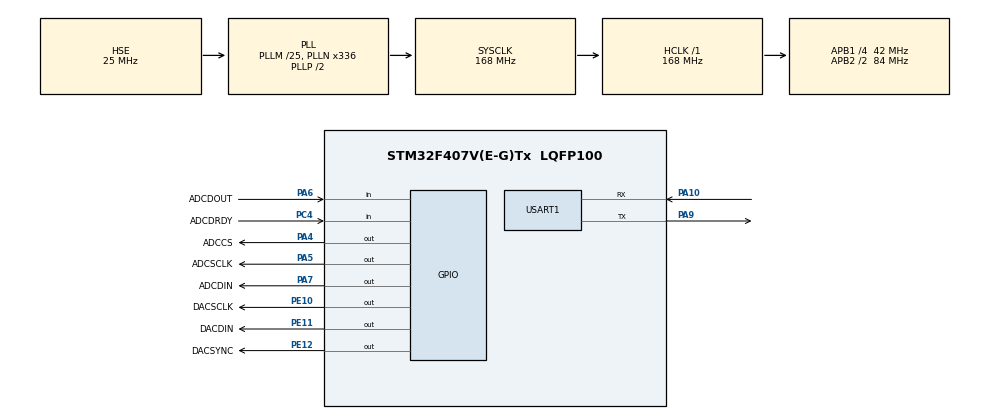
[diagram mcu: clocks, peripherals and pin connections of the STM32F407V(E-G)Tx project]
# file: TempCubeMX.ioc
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Dma.Request0=USART1_RX
Dma.Request1=USART1_TX
Dma.USART1_RX.0.Direction=DMA_PERIPH_TO_MEMORY
Dma.USART1_RX.0.FIFOMode=DMA_FIFOMODE_DISABLE
Dma.USART1_RX.0.Instance=DMA2_Stream2
Dma.USART1_RX.0.MemDataAlignment=DMA_MDATAALIGN_BYTE
Dma.USART1_RX.0.MemInc=DMA_MINC_ENABLE
Dma.USART1_RX.0.Mode=DMA_CIRCULAR
Dma.USART1_RX.0.PeriphDataAlignment=DMA_PDATAALIGN_BYTE
Dma.USART1_RX.0.PeriphInc=DMA_PINC_DISABLE
Dma.USART1_RX.0.Priority=DMA_PRIORITY_HIGH
Dma.USART1_TX.1.Direction=DMA_MEMORY_TO_PERIPH
Dma.USART1_TX.1.FIFOMode=DMA_FIFOMODE_DISABLE
Dma.USART1_TX.1.Instance=DMA2_Stream7
Dma.USART1_TX.1.MemDataAlignment=DMA_MDATAALIGN_BYTE
Dma.USART1_TX.1.MemInc=DMA_MINC_ENABLE
Dma.USART1_TX.1.Mode=DMA_NORMAL
Dma.USART1_TX.1.PeriphDataAlignment=DMA_PDATAALIGN_BYTE
Dma.USART1_TX.1.PeriphInc=DMA_PINC_DISABLE
Dma.USART1_TX.1.Priority=DMA_PRIORITY_MEDIUM
Mcu.Family=STM32F4
Mcu.Name=STM32F407V(E-G)Tx
Mcu.Package=LQFP100
NVIC.DMA2_Stream2_IRQn=true\:0\:0\:false\:false\:true\:false\:true\:true
NVIC.DMA2_Stream7_IRQn=true\:0\:0\:false\:false\:true\:false\:true\:true
NVIC.PriorityGroup=NVIC_PRIORITYGROUP_4
NVIC.USART1_IRQn=true\:0\:0\:false\:false\:true\:true\:true\:true
PA10.Mode=Asynchronous
PA10.Signal=USART1_RX
PA13.Mode=Serial_Wire
PA13.Signal=SYS_JTMS-SWDIO
PA14.Mode=Serial_Wire
PA14.Signal=SYS_JTCK-SWCLK
PA4.GPIO_Label=ADCCS
PA4.PinState=GPIO_PIN_SET
PA4.Signal=GPIO_Output
PA5.GPIO_Label=ADCSCLK
PA5.Signal=GPIO_Output
PA6.GPIO_Label=ADCDOUT
PA6.Signal=GPIO_Input
PA7.GPIO_Label=ADCDIN
PA7.Signal=GPIO_Output
PA9.Mode=Asynchronous
PA9.Signal=USART1_TX
PC4.GPIO_Label=ADCDRDY
PC4.Signal=GPIO_Input
PE10.GPIO_Label=DACSCLK
PE10.GPIO_Speed=GPIO_SPEED_FREQ_VERY_HIGH
PE10.PinState=GPIO_PIN_RESET
PE10.Signal=GPIO_Output
PE11.GPIO_Label=DACDIN
PE11.GPIO_Speed=GPIO_SPEED_FREQ_VERY_HIGH
PE11.PinState=GPIO_PIN_RESET
PE11.Signal=GPIO_Output
PE12.GPIO_Label=DACSYNC
PE12.GPIO_Speed=GPIO_SPEED_FREQ_VERY_HIGH
PE12.PinState=GPIO_PIN_SET
PE12.Signal=GPIO_Output
PH0-OSC_IN.Mode=HSE-External-Oscillator
PH0-OSC_IN.Signal=RCC_OSC_IN
PH1-OSC_OUT.Mode=HSE-External-Oscillator
PH1-OSC_OUT.Signal=RCC_OSC_OUT
ProjectManager.HeapSize=0x200
ProjectManager.StackSize=0x400
ProjectManager.TargetToolchain=MDK-ARM V5.32
RCC.48MHZClocksFreq_Value=84000000
RCC.AHBFreq_Value=168000000
RCC.APB1CLKDivider=RCC_HCLK_DIV4
RCC.APB1Freq_Value=42000000
RCC.APB1TimFreq_Value=84000000
RCC.APB2CLKDivider=RCC_HCLK_DIV2
RCC.APB2Freq_Value=84000000
RCC.APB2TimFreq_Value=168000000
RCC.CortexFreq_Value=168000000
RCC.HCLKFreq_Value=168000000
RCC.HSE_VALUE=25000000
RCC.HSI_VALUE=16000000
RCC.LSE_VALUE=32768
RCC.PLLM=25
RCC.PLLN=336
RCC.PLLSourceVirtual=RCC_PLLSOURCE_HSE
RCC.SYSCLKFreq_VALUE=168000000
RCC.SYSCLKSource=RCC_SYSCLKSOURCE_PLLCLK
RCC.VCOOutputFreq_Value=336000000
USART1.VirtualMode=VM_ASYNC
board=custom

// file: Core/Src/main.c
/* USER CODE BEGIN Header */
/**
  ******************************************************************************
  * @file           : main.c
  * @brief          : Main program body
  ******************************************************************************
  * @attention
  *
  * Copyright (c) 2026 STMicroelectronics.
  * All rights reserved.
  *
  * This software is licensed under terms that can be found in the LICENSE file
  * in the root directory of this software component.
  * If no LICENSE file comes with this software, it is provided AS-IS.
  *
  ******************************************************************************
  */
/* USER CODE END Header */
#include "main.h"
#include "dma.h"
#include "usart.h"
#include "gpio.h"

/* USER CODE BEGIN Includes */
#include "command_parser.h"
#include "uart1_comm.h"
#include "bsp_DAC8568.h"
#include "thermal.h"
#include "formula.h"
#include "ads1255.h"
#include "pid.h"
#include <stdio.h>
/* USER CODE END Includes */

/* USER CODE BEGIN PD */

#define ADC_FILTER_N          10U
#define ADS1256_INVALID_CODE  ((int32_t)0x7FFFFFFF)

#define TEC1_TARGET_TEMPERATURE      25.0f
#define TEC1_CONTROL_PERIOD_MS       200U

/* USER CODE END PD */

/* USER CODE BEGIN PV */

static int32_t ntc_adc_code = 0;
static double ntc_diff_voltage = 0.0f;
static double adc_ntc_node_voltage = 0.0;
static double ntc_temperature = 0.0f;
static double ntc_resistance = 0.0f;

static double dac_temperature = 0.0f;
static double dac_ntc_resistance = 0.0f;
static uint8_t dac_temp_valid = 0U;

static uint8_t ntc_data_valid = 0U;
static uint32_t ntc_raw24 = 0U;

static PID TEC1_PID;
PID_Control TEC1_Control;
/* USER CODE BEGIN PV */

void SystemClock_Config(void);

/* USER CODE BEGIN 0 */
/**
 * @brief 处理一条来自电脑的完整命指令
 *
 * ??????????,????????????,
 * ????????????
 */
static void App_ProcessPcCommand(void)
{
    char rx_line[UART1_RX_LINE_MAX_LEN];
    char tx_reply[UART1_TX_BUFFER_SIZE];

    CommandPacket_t command;
    CommandParseStatus_t parse_status;
    CommandExecStatus_t exec_status;

    /*
     * ?????? DMA ????????,
     * ?????????,???????????
     */
    if (UART1_Comm_IsTxBusy())
    {
        return;
    }

    if (!UART1_Comm_ReadLine(rx_line, sizeof(rx_line)))
    {
        return;
    }

    /* ???????:????,??????? */
    parse_status = Command_ParseLine(rx_line, &command);

    if (parse_status != CMD_PARSE_OK)
    {
        (void)UART1_SendString_DMA("ERROR FORMAT\r\n");
        return;
    }

    /*
     * ???????:
     * 根据指令名和参数设置目标变量
     * ?????????
     */
    exec_status = Command_Execute(&command,
                                  tx_reply,
                                  sizeof(tx_reply));

    switch (exec_status)
    {
        case CMD_EXEC_OK:
            (void)UART1_SendString_DMA("%s", tx_reply);
            break;

        case CMD_EXEC_UNKNOWN_COMMAND:
            (void)UART1_SendString_DMA("ERROR UNKNOWN COMMAND\r\n");
            break;

        case CMD_EXEC_OUT_OF_RANGE:
            (void)UART1_SendString_DMA("ERROR OUT OF RANGE\r\n");
            break;

        default:
            (void)UART1_SendString_DMA("ERROR INTERNAL\r\n");
            break;
    }
}

/* ?32???????????????? */
static void Uint32_ToBinaryString(uint32_t value, char output[33])
{
    for (uint32_t i = 0U; i < 32U; i++)
    {
        uint32_t bit_pos = 31U - i;

        output[i] = ((value >> bit_pos) & 0x01U) ? '1' : '0';
    }

    output[32] = '\0';
}

/* USER CODE END 0 */

int main(void)
{

  /* MCU Configuration--------------------------------------------------------*/

  /* Reset of all peripherals, Initializes the Flash interface and the Systick. */
  HAL_Init();

  /* Configure the system clock */
  SystemClock_Config();

  /* Initialize all configured peripherals */
  MX_GPIO_Init();
  MX_DMA_Init();
  MX_USART1_UART_Init();
  /* USER CODE BEGIN 2 */

  UART1_Comm_Start();

	DAC8568_Init();

	/* DAC0 -> AIN0 */
	DAC8568_SetVoltage(OutA,1.25);

	/* DAC2 -> AIN1 */
  DAC8568_SetVoltage(OutC, 1.25);

	ADS1256_GPIO_Init();
  ADS1256_CfgADC(PGA_1, DATARATE_50);

	//设置差分通道
	ADS1256_SetDiffChannel(POSITIVE_AIN0, NEGTIVE_AIN1);

	Formula_TecPid_Init(&TEC1_PID,
                        0.8f,     // Kp
                        0.02f,    // Ki
                        0.1f,     // Kd
                        25.0f);   // 初始温度

  if (!PID_Control_Init(&TEC1_Control,
                      &TEC1_PID,
                      TEC1_TARGET_TEMPERATURE,
                      TEC1_CONTROL_PERIOD_MS,
                      TEC_CHANNEL_1))
{
    Error_Handler();
}

/* 上电获得有效温度自动整定一次 */
PID_Control_RequestAutoTune(&TEC1_Control);
  /* USER CODE END 2 */

  /* Infinite loop */
  /* USER CODE BEGIN WHILE */

	uint32_t last_send_tick = 0U;
	uint16_t dac0_code;
	uint16_t dac2_code;

  double dac0_v;
  double dac2_v;
  double dac_diff_v;

  while (1)
  {
    /* USER CODE END WHILE */

		App_ProcessPcCommand();

		 dac0_code = g_dac8568_code[0];
     dac2_code = g_dac8568_code[2];

     dac0_v = ((double)dac0_code * 5.0f) / 65535.0f;
     dac2_v = ((double)dac2_code * 5.0f) / 65535.0f;

     dac_diff_v = dac0_v - dac2_v;

		//读取adc电压差分数据
	  ntc_adc_code =
    ADS1256_GetAdcTrimmedMean1(ADC_FILTER_N);

		ntc_data_valid = 0U;
    ntc_raw24 = 0U;
    ntc_diff_voltage = 0.0;
    adc_ntc_node_voltage = 0.0;

    //判断adc返回值
    if (ntc_adc_code != ADS1256_INVALID_CODE)
{
    ntc_raw24 =
        ((uint32_t)ntc_adc_code) &
        0x00FFFFFFU;

	  //adc测量差分
    ntc_diff_voltage =
            ADS1256_CodeToVoltage(
            ntc_adc_code,
            2.5,
            PGA_1
        );

	  //还原节点N1电压
	  adc_ntc_node_voltage =
            ntc_diff_voltage +
            dac2_v;

				//差分电压转换成温度和电阻（真实采集到的，可用于计算真实温度）
				ntc_data_valid =
    NTC_NodeVoltageToTemperature(
        adc_ntc_node_voltage,
        &ntc_temperature,
        &ntc_resistance
    );

  }

	//pid控制
	PID_Control_Task(&TEC1_Control,
                     (float)ntc_temperature,
                     ntc_data_valid,
                     HAL_GetTick());

		//根据理论差分电压计算模拟温度（DAC输出电压转换的理论温度）
		 dac_temp_valid =
    NTC_NodeVoltageToTemperature(
        dac0_v,
        &dac_temperature,
        &dac_ntc_resistance
    );

    /*
     * ????????
     */
    if ((HAL_GetTick() - last_send_tick) >= 500U)
    {
        last_send_tick = HAL_GetTick();

        if (!UART1_Comm_IsTxBusy())
        {if ((ntc_data_valid != 0U) &&
                (dac_temp_valid != 0U))
            {
                (void)UART1_SendString_DMA(
    "TEMP=%.7fC,"
    "ADC_DIFF=%.7fV,"
    "DAC_DIFF=%.7fV,"
    "DAC0_V=%.5fV,"
    "DAC2_V=%.5fV,"
    "RAW24=0x%06lX,"
    "CODE32=%ld\r\n",

    ntc_temperature,
		ntc_diff_voltage,
    dac_diff_v,
    dac0_v,
    dac2_v,
    (unsigned long)ntc_raw24,
    (long)ntc_adc_code
);
            }
            else
            {
                (void)UART1_SendString_DMA(
                    "TEMP=INVALID,"
                    "ADC_DIFF=%.7fV,"
                    "DAC_DIFF=%.7fV,"
                    "DAC0_V=%.5fV,"
                    "DAC2_V=%.5fV,"
                    "RAW24=0x%06lX,"
                    "CODE32=%ld\r\n",

                    ntc_diff_voltage,
                    dac_diff_v,
                    dac0_v,
                    dac2_v,

                    (unsigned long)ntc_raw24,
                    (long)ntc_adc_code
                );
            }
        }

    }
  }
}

void SystemClock_Config(void)
{
  RCC_OscInitTypeDef RCC_OscInitStruct = {0};
  RCC_ClkInitTypeDef RCC_ClkInitStruct = {0};

  /** Configure the main internal regulator output voltage
  */
  __HAL_RCC_PWR_CLK_ENABLE();
  __HAL_PWR_VOLTAGESCALING_CONFIG(PWR_REGULATOR_VOLTAGE_SCALE1);

  /** Initializes the RCC Oscillators according to the specified parameters
  * in the RCC_OscInitTypeDef structure.
  */
  RCC_OscInitStruct.OscillatorType = RCC_OSCILLATORTYPE_HSE;
  RCC_OscInitStruct.HSEState = RCC_HSE_ON;
  RCC_OscInitStruct.PLL.PLLState = RCC_PLL_ON;
  RCC_OscInitStruct.PLL.PLLSource = RCC_PLLSOURCE_HSE;
  RCC_OscInitStruct.PLL.PLLM = 25;
  RCC_OscInitStruct.PLL.PLLN = 336;
  RCC_OscInitStruct.PLL.PLLP = RCC_PLLP_DIV2;
  RCC_OscInitStruct.PLL.PLLQ = 4;
  if (HAL_RCC_OscConfig(&RCC_OscInitStruct) != HAL_OK)
  {
    Error_Handler();
  }

  /** Initializes the CPU, AHB and APB buses clocks
  */
  RCC_ClkInitStruct.ClockType = RCC_CLOCKTYPE_HCLK|RCC_CLOCKTYPE_SYSCLK
                              |RCC_CLOCKTYPE_PCLK1|RCC_CLOCKTYPE_PCLK2;
  RCC_ClkInitStruct.SYSCLKSource = RCC_SYSCLKSOURCE_PLLCLK;
  RCC_ClkInitStruct.AHBCLKDivider = RCC_SYSCLK_DIV1;
  RCC_ClkInitStruct.APB1CLKDivider = RCC_HCLK_DIV4;
  RCC_ClkInitStruct.APB2CLKDivider = RCC_HCLK_DIV2;

  if (HAL_RCC_ClockConfig(&RCC_ClkInitStruct, FLASH_LATENCY_5) != HAL_OK)
  {
    Error_Handler();
  }
}

/* USER CODE BEGIN 4 */
/**
 * @brief USART DMA ???????
 *
 * RX DMA ?? Circular ???,???????????
 */
void HAL_UART_RxHalfCpltCallback(UART_HandleTypeDef *huart)
{
    UART1_Comm_OnRxDmaEvent(huart);
}

/**
 * @brief USART DMA ???????
 *
 * RX DMA ?? Circular ???,?????????????
 */
void HAL_UART_RxCpltCallback(UART_HandleTypeDef *huart)
{
    UART1_Comm_OnRxDmaEvent(huart);
}

/**
 * @brief USART DMA ???????
 *
 * ?????????????
 */
void HAL_UART_TxCpltCallback(UART_HandleTypeDef *huart)
{
    UART1_Comm_OnTxCplt(huart);
}

/**
 * @brief USART ?????
 *
 * ???????????????,
 * ???? UART DMA ???
 */
void HAL_UART_ErrorCallback(UART_HandleTypeDef *huart)
{
    UART1_Comm_OnError(huart);
}

/* USER CODE END 4 */

void Error_Handler(void)
{
  __disable_irq();
  while (1)
  {
  }
}
